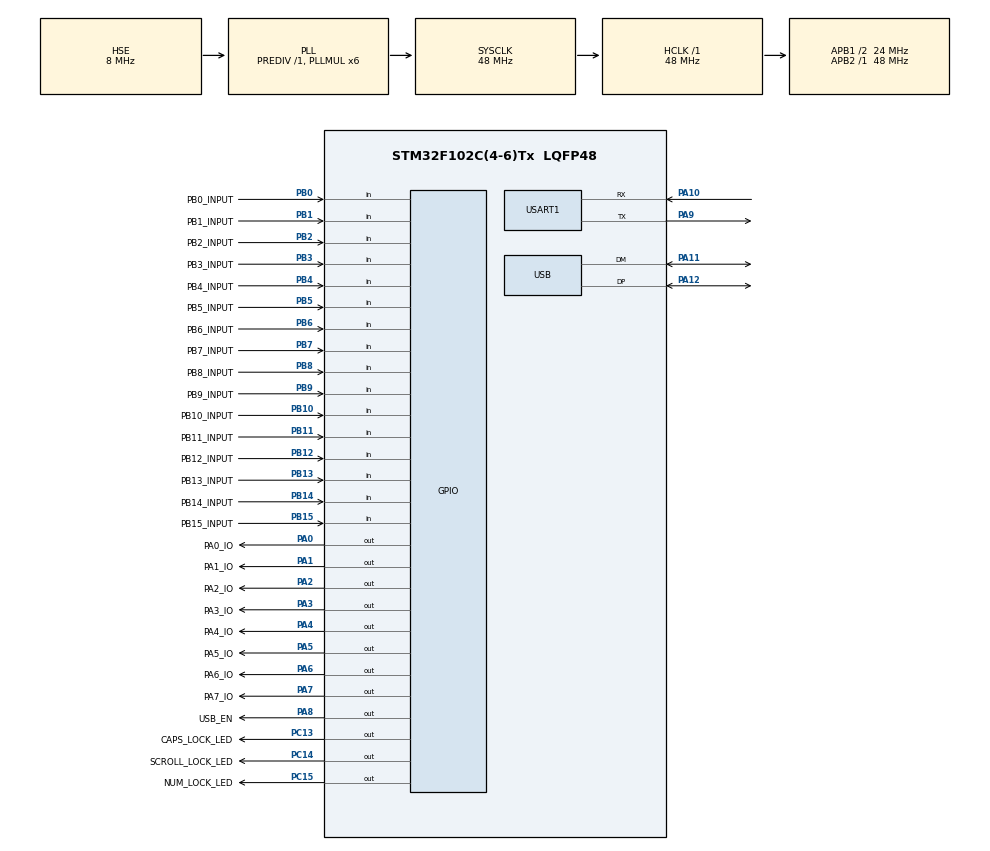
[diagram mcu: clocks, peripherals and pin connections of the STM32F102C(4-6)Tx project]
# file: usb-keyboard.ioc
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Mcu.Family=STM32F1
Mcu.Name=STM32F102C(4-6)Tx
Mcu.Package=LQFP48
NVIC.PriorityGroup=NVIC_PRIORITYGROUP_4
NVIC.USB_LP_IRQn=true\:0\:0\:false\:false\:true\:false\:true
PA0-WKUP.GPIO_Label=PA0_IO
PA0-WKUP.PinState=GPIO_PIN_RESET
PA0-WKUP.Signal=GPIO_Output
PA1.GPIO_Label=PA1_IO
PA1.Signal=GPIO_Output
PA10.Mode=Asynchronous
PA10.Signal=USART1_RX
PA11.Mode=Device
PA11.Signal=USB_DM
PA12.Mode=Device
PA12.Signal=USB_DP
PA2.GPIO_Label=PA2_IO
PA2.Signal=GPIO_Output
PA3.GPIO_Label=PA3_IO
PA3.Signal=GPIO_Output
PA4.GPIO_Label=PA4_IO
PA4.Signal=GPIO_Output
PA5.GPIO_Label=PA5_IO
PA5.Signal=GPIO_Output
PA6.GPIO_Label=PA6_IO
PA6.Signal=GPIO_Output
PA7.GPIO_Label=PA7_IO
PA7.Signal=GPIO_Output
PA8.GPIO_Label=USB_EN
PA8.Signal=GPIO_Output
PA9.Mode=Asynchronous
PA9.Signal=USART1_TX
PB0.GPIO_Label=PB0_INPUT
PB0.Signal=GPIO_Input
PB1.GPIO_Label=PB1_INPUT
PB1.Signal=GPIO_Input
PB10.GPIO_Label=PB10_INPUT
PB10.Signal=GPIO_Input
PB11.GPIO_Label=PB11_INPUT
PB11.Signal=GPIO_Input
PB12.GPIO_Label=PB12_INPUT
PB12.Signal=GPIO_Input
PB13.GPIO_Label=PB13_INPUT
PB13.Signal=GPIO_Input
PB14.GPIO_Label=PB14_INPUT
PB14.Signal=GPIO_Input
PB15.GPIO_Label=PB15_INPUT
PB15.Signal=GPIO_Input
PB2.GPIO_Label=PB2_INPUT
PB2.Signal=GPIO_Input
PB3.GPIO_Label=PB3_INPUT
PB3.Signal=GPIO_Input
PB4.GPIO_Label=PB4_INPUT
PB4.Signal=GPIO_Input
PB5.GPIO_Label=PB5_INPUT
PB5.Signal=GPIO_Input
PB6.GPIO_Label=PB6_INPUT
PB6.Signal=GPIO_Input
PB7.GPIO_Label=PB7_INPUT
PB7.Signal=GPIO_Input
PB8.GPIO_Label=PB8_INPUT
PB8.Signal=GPIO_Input
PB9.GPIO_Label=PB9_INPUT
PB9.Signal=GPIO_Input
PC13-TAMPER-RTC.GPIO_Label=CAPS_LOCK_LED
PC13-TAMPER-RTC.GPIO_ModeDefaultOutputPP=GPIO_MODE_OUTPUT_OD
PC13-TAMPER-RTC.PinState=GPIO_PIN_SET
PC13-TAMPER-RTC.Signal=GPIO_Output
PC14-OSC32_IN.GPIO_Label=SCROLL_LOCK_LED
PC14-OSC32_IN.GPIO_ModeDefaultOutputPP=GPIO_MODE_OUTPUT_OD
PC14-OSC32_IN.PinState=GPIO_PIN_SET
PC14-OSC32_IN.Signal=GPIO_Output
PC15-OSC32_OUT.GPIO_Label=NUM_LOCK_LED
PC15-OSC32_OUT.GPIO_ModeDefaultOutputPP=GPIO_MODE_OUTPUT_OD
PC15-OSC32_OUT.PinState=GPIO_PIN_SET
PC15-OSC32_OUT.Signal=GPIO_Output
PD0-OSC_IN.Mode=HSE-External-Oscillator
PD0-OSC_IN.Signal=RCC_OSC_IN
PD1-OSC_OUT.Mode=HSE-External-Oscillator
PD1-OSC_OUT.Signal=RCC_OSC_OUT
ProjectManager.HeapSize=0x200
ProjectManager.StackSize=0x400
ProjectManager.TargetToolchain=STM32CubeIDE
RCC.AHBFreq_Value=48000000
RCC.APB1CLKDivider=RCC_HCLK_DIV2
RCC.APB1Freq_Value=24000000
RCC.APB1TimFreq_Value=48000000
RCC.APB2Freq_Value=48000000
RCC.HCLKFreq_Value=48000000
RCC.PLLMUL=RCC_PLL_MUL6
RCC.SYSCLKFreq_VALUE=48000000
RCC.SYSCLKSource=RCC_SYSCLKSOURCE_PLLCLK
RCC.USBFreq_Value=48000000
USART1.VirtualMode=VM_ASYNC
USB_DEVICE.CLASS_NAME_FS=CUSTOM_HID
USB_DEVICE.CONFIGURATION_STRING_CUSTOMHID_FS=HID Config
USB_DEVICE.INTERFACE_STRING_CUSTOMHID_FS=HID Interface
USB_DEVICE.MANUFACTURER_STRING=Unrecoverable.org
USB_DEVICE.PRODUCT_STRING_CUSTOMHID_FS=IBM Model-M Keyboard (USB)
USB_DEVICE.USBD_CUSTOMHID_OUTREPORT_BUF_SIZE=7
USB_DEVICE.USBD_CUSTOM_HID_REPORT_DESC_SIZE=63
USB_DEVICE.VirtualMode=CustomHid
USB_DEVICE.VirtualModeFS=Custom_Hid_FS
VP_SYS_VS_ND.Mode=No_Debug
VP_USB_DEVICE_VS_USB_DEVICE_CUSTOM_HID_FS.Mode=CUSTOM_HID_FS
board=custom

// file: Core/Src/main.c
/* USER CODE BEGIN Header */
/**
  ******************************************************************************
  * @file           : main.c
  * @brief          : Main program body
  ******************************************************************************
  * @attention
  *
  * <h2><center>&copy; Copyright (c) 2020 STMicroelectronics.
  * All rights reserved.</center></h2>
  *
  * This software component is licensed by ST under BSD 3-Clause license,
  * the "License"; You may not use this file except in compliance with the
  * License. You may obtain a copy of the License at:
  *                        opensource.org/licenses/BSD-3-Clause
  *
  ******************************************************************************
  */
/* USER CODE END Header */

#include "main.h"
#include "usb_device.h"

/* USER CODE BEGIN Includes */
#include "usb_keyboard.h"
#include "user_interface.h"
#include "usb_ctrl.h"
#include "uart.h"
#include "keyscanner.h"
/* USER CODE END Includes */

UART_HandleTypeDef huart1;

/* USER CODE BEGIN PV */
const uint16_t KEY_DELAY = 100;
const uint16_t REPEAT_DELAY_INITIAL = 500;
const uint16_t REPEAT_DELAY = 30;
static uint8_t refuseInput = 0;
static uint8_t keyRepeating = 0;

/* USER CODE END PV */

void SystemClock_Config(void);
static void MX_GPIO_Init(void);
static void MX_USART1_UART_Init(void);
/* USER CODE BEGIN PFP */
void setRefuseInput();
void clearRefuseInput();
int isRefuseInput();
void setKeyRepeating();
void clearKeyRepeating();
int isKeyRepeating();
void ledUpdateCallback(uint8_t ledState);
/* USER CODE END PFP */

int main(void)
{
  /* USER CODE BEGIN 1 */
  uint8_t keysScanned;
  uint8_t scanCodeBufferSize = 8;
  uint8_t scanCodeBuffer[scanCodeBufferSize];
  uint8_t lastScanCode = 0;
  uint8_t modifiers;
  uint8_t lastModifiers = 0;
  uint16_t repeatDelay = KEY_DELAY;
  /* USER CODE END 1 */

  /* MCU Configuration--------------------------------------------------------*/

  /* Reset of all peripherals, Initializes the Flash interface and the Systick. */
  HAL_Init();

  /* Configure the system clock */
  SystemClock_Config();

  /* Initialize all configured peripherals */
  MX_GPIO_Init();
  MX_USART1_UART_Init();
  MX_USB_DEVICE_Init();
  /* USER CODE BEGIN 2 */
  UART_Init(&huart1);
  USB_Control_Init();
  USB_Control_Enable();

  uint8_t VERSION_STRING[] = "USB Keyboard Firmware v2.0\n";

  printf("%s", VERSION_STRING);

  KS_Init();
  UserInterface_Init();

  // toggle LEDs to show board is initialized
  UserInterface_Led_On(NUM_LOCK);
  HAL_Delay(100);
  UserInterface_Led_On(CAPS_LOCK);
  HAL_Delay(100);
  UserInterface_Led_On(SCROLL_LOCK);
  HAL_Delay(800);
  UserInterface_Led_All_Off();
  /* USER CODE END 2 */

  /* Infinite loop */
  while (1)
  {

    /* USER CODE BEGIN 3 */
	  HAL_Delay(10);
	  modifiers = 0;
	  keysScanned = KS_ReadScanCode(scanCodeBuffer, scanCodeBufferSize, &modifiers);

	  // have the modifiers changed but the scan code stayed the same?
	  if ((modifiers != lastModifiers) && (lastScanCode > 0) && (lastScanCode == scanCodeBuffer[0]))
	  {
		  // stop accepting input until key(s) are released
		  setRefuseInput();
		  lastModifiers = modifiers;
	  }
	  else if(keysScanned > 0 || modifiers != 0)
	  {
		  HAL_Delay(repeatDelay);

		  if ((keysScanned > 0) && (modifiers == lastModifiers))
		  {
			  printf("Key: ");
			  for(uint8_t i = 0; i < keysScanned; i++)
			  {
				  printf("0x%02X ", scanCodeBuffer[i]);
			  }
			  printf(" (modifier 0x%02X)\n", modifiers);

			  if (!isRefuseInput())
			  {
				  USB_Send_Key_Press(scanCodeBuffer[0], modifiers);
				  // if the key is "repeating", reduce the time between repeats
				  if (scanCodeBuffer[0] == lastScanCode)
				  {
					  if (isKeyRepeating())
					  {
						  repeatDelay = REPEAT_DELAY;
					  }
					  else {
						  repeatDelay = REPEAT_DELAY_INITIAL;
						  setKeyRepeating();
					  }
				  }
				  else
				  {
					  repeatDelay = KEY_DELAY;
					  clearKeyRepeating();
				  }
				  lastScanCode = scanCodeBuffer[0];
			  }
			  else if (scanCodeBuffer[0] != lastScanCode)
			  {
				  clearRefuseInput();
				  clearKeyRepeating();
			  }
		  }
		  else
		  {
			  USB_Send_Key_Press(0x00, modifiers);
		  }

		  if (!isRefuseInput())
		  {
			  HAL_Delay(10);
			  USB_Send_All_Keys_Released(0x00);
		  }

		  lastModifiers = modifiers;
	  }
	  else
	  {
		  clearRefuseInput();
		  clearKeyRepeating();
		  repeatDelay = KEY_DELAY;
		  lastScanCode = 0;
		  lastModifiers = 0;
	  }
  }
  /* USER CODE END 3 */
}

void SystemClock_Config(void)
{
  RCC_OscInitTypeDef RCC_OscInitStruct = {0};
  RCC_ClkInitTypeDef RCC_ClkInitStruct = {0};
  RCC_PeriphCLKInitTypeDef PeriphClkInit = {0};

  /** Initializes the CPU, AHB and APB busses clocks
  */
  RCC_OscInitStruct.OscillatorType = RCC_OSCILLATORTYPE_HSE;
  RCC_OscInitStruct.HSEState = RCC_HSE_ON;
  RCC_OscInitStruct.HSEPredivValue = RCC_HSE_PREDIV_DIV1;
  RCC_OscInitStruct.HSIState = RCC_HSI_ON;
  RCC_OscInitStruct.PLL.PLLState = RCC_PLL_ON;
  RCC_OscInitStruct.PLL.PLLSource = RCC_PLLSOURCE_HSE;
  RCC_OscInitStruct.PLL.PLLMUL = RCC_PLL_MUL6;
  if (HAL_RCC_OscConfig(&RCC_OscInitStruct) != HAL_OK)
  {
    Error_Handler();
  }
  /** Initializes the CPU, AHB and APB busses clocks
  */
  RCC_ClkInitStruct.ClockType = RCC_CLOCKTYPE_HCLK|RCC_CLOCKTYPE_SYSCLK
                              |RCC_CLOCKTYPE_PCLK1|RCC_CLOCKTYPE_PCLK2;
  RCC_ClkInitStruct.SYSCLKSource = RCC_SYSCLKSOURCE_PLLCLK;
  RCC_ClkInitStruct.AHBCLKDivider = RCC_SYSCLK_DIV1;
  RCC_ClkInitStruct.APB1CLKDivider = RCC_HCLK_DIV2;
  RCC_ClkInitStruct.APB2CLKDivider = RCC_HCLK_DIV1;

  if (HAL_RCC_ClockConfig(&RCC_ClkInitStruct, FLASH_LATENCY_1) != HAL_OK)
  {
    Error_Handler();
  }
  PeriphClkInit.PeriphClockSelection = RCC_PERIPHCLK_USB;
  PeriphClkInit.UsbClockSelection = RCC_USBCLKSOURCE_PLL;
  if (HAL_RCCEx_PeriphCLKConfig(&PeriphClkInit) != HAL_OK)
  {
    Error_Handler();
  }
}

static void MX_USART1_UART_Init(void)
{

  huart1.Instance = USART1;
  huart1.Init.BaudRate = 115200;
  huart1.Init.WordLength = UART_WORDLENGTH_8B;
  huart1.Init.StopBits = UART_STOPBITS_1;
  huart1.Init.Parity = UART_PARITY_NONE;
  huart1.Init.Mode = UART_MODE_TX_RX;
  huart1.Init.HwFlowCtl = UART_HWCONTROL_NONE;
  huart1.Init.OverSampling = UART_OVERSAMPLING_16;
  if (HAL_UART_Init(&huart1) != HAL_OK)
  {
    Error_Handler();
  }

}

static void MX_GPIO_Init(void)
{
  GPIO_InitTypeDef GPIO_InitStruct = {0};

  /* GPIO Ports Clock Enable */
  __HAL_RCC_GPIOC_CLK_ENABLE();
  __HAL_RCC_GPIOD_CLK_ENABLE();
  __HAL_RCC_GPIOA_CLK_ENABLE();
  __HAL_RCC_GPIOB_CLK_ENABLE();

  /*Configure GPIO pin Output Level */
  HAL_GPIO_WritePin(GPIOC, CAPS_LOCK_LED_Pin|SCROLL_LOCK_LED_Pin|NUM_LOCK_LED_Pin, GPIO_PIN_SET);

  /*Configure GPIO pin Output Level */
  HAL_GPIO_WritePin(GPIOA, PA0_IO_Pin|PA1_IO_Pin|PA2_IO_Pin|PA3_IO_Pin
                          |PA4_IO_Pin|PA5_IO_Pin|PA6_IO_Pin|PA7_IO_Pin
                          |USB_EN_Pin, GPIO_PIN_RESET);

  /*Configure GPIO pins : CAPS_LOCK_LED_Pin SCROLL_LOCK_LED_Pin NUM_LOCK_LED_Pin */
  GPIO_InitStruct.Pin = CAPS_LOCK_LED_Pin|SCROLL_LOCK_LED_Pin|NUM_LOCK_LED_Pin;
  GPIO_InitStruct.Mode = GPIO_MODE_OUTPUT_OD;
  GPIO_InitStruct.Pull = GPIO_NOPULL;
  GPIO_InitStruct.Speed = GPIO_SPEED_FREQ_LOW;
  HAL_GPIO_Init(GPIOC, &GPIO_InitStruct);

  /*Configure GPIO pins : PA0_IO_Pin PA1_IO_Pin PA2_IO_Pin PA3_IO_Pin
                           PA4_IO_Pin PA5_IO_Pin PA6_IO_Pin PA7_IO_Pin
                           USB_EN_Pin */
  GPIO_InitStruct.Pin = PA0_IO_Pin|PA1_IO_Pin|PA2_IO_Pin|PA3_IO_Pin
                          |PA4_IO_Pin|PA5_IO_Pin|PA6_IO_Pin|PA7_IO_Pin
                          |USB_EN_Pin;
  GPIO_InitStruct.Mode = GPIO_MODE_OUTPUT_PP;
  GPIO_InitStruct.Pull = GPIO_NOPULL;
  GPIO_InitStruct.Speed = GPIO_SPEED_FREQ_LOW;
  HAL_GPIO_Init(GPIOA, &GPIO_InitStruct);

  /*Configure GPIO pins : PB0_INPUT_Pin PB1_INPUT_Pin PB2_INPUT_Pin PB10_INPUT_Pin
                           PB11_INPUT_Pin PB12_INPUT_Pin PB13_INPUT_Pin PB14_INPUT_Pin
                           PB15_INPUT_Pin PB3_INPUT_Pin PB4_INPUT_Pin PB5_INPUT_Pin
                           PB6_INPUT_Pin PB7_INPUT_Pin PB8_INPUT_Pin PB9_INPUT_Pin */
  GPIO_InitStruct.Pin = PB0_INPUT_Pin|PB1_INPUT_Pin|PB2_INPUT_Pin|PB10_INPUT_Pin
                          |PB11_INPUT_Pin|PB12_INPUT_Pin|PB13_INPUT_Pin|PB14_INPUT_Pin
                          |PB15_INPUT_Pin|PB3_INPUT_Pin|PB4_INPUT_Pin|PB5_INPUT_Pin
                          |PB6_INPUT_Pin|PB7_INPUT_Pin|PB8_INPUT_Pin|PB9_INPUT_Pin;
  GPIO_InitStruct.Mode = GPIO_MODE_INPUT;
  GPIO_InitStruct.Pull = GPIO_NOPULL;
  HAL_GPIO_Init(GPIOB, &GPIO_InitStruct);

}

/* USER CODE BEGIN 4 */
void setRefuseInput() {
	refuseInput = 1;
}

void clearRefuseInput() {
	refuseInput = 0;
}

int isRefuseInput() {
	return refuseInput == 1;
}

void setKeyRepeating() {
	keyRepeating = 1;
}

void clearKeyRepeating() {
	keyRepeating = 0;
}

int isKeyRepeating() {
	return keyRepeating == 1;
}
/* USER CODE END 4 */

void Error_Handler(void)
{
}

/************************ (C) COPYRIGHT STMicroelectronics *****END OF FILE****/
